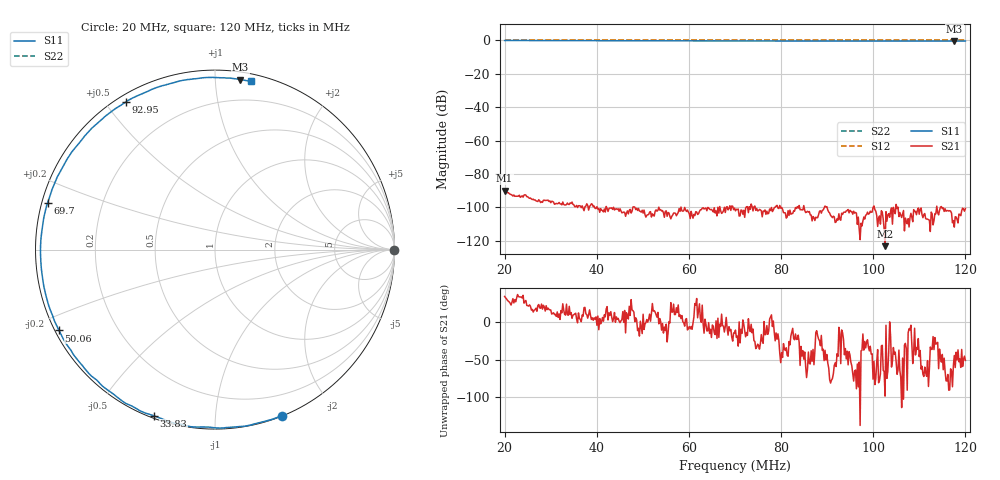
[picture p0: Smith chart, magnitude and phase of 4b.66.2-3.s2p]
! Anritsu VNA Master:  Model: MS2036C/10/77
! SN:  1601066
! /bd0/18may26.balun/4b.66.3.s2p
! Existing Calibration Information:
! TYPE:  Current Settings,  Active Cal Settings
! TIME:  05/26/2018 05:16:19 PM,  05/26/2018 05:08:07 PM
! INTERNAL TEMP:  52.8 C,  52.5 C
! # POINTS:  500,  500
! START FREQ:  20.000 MHz,  20.000 MHz
! STOP FREQ:  120.000 MHz,  120.000 MHz
! SOURCE POWER:  High,  High
! IFBW:  50 Hz,  50 Hz
! AVG FACTOR:  1 ,  1
! REF PLANE 1:  0 mm,  0 mm
! REF PLANE 2:  0 mm,  0 mm
! CAL TYPE:  Full S11,  Full S11
! CAL METHOD:  SOLT,  SOLT
! CAL LINE TYPE:  Coax,  Coax
! DUT PORT 1:  K-Conn(M),  K-Conn(M)
! DUT PORT 2:  K-Conn(M),  K-Conn(M)
! CAL STATUS:  OK: Accuracy High,  --
# GHZ S DB R 50.0
! FREQ.GHZ  S11DB  S11A  S21DB  S21A  S12DB  S12A  S22DB  S22A
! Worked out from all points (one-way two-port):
!   500 points, 20 MHz to 120 MHz, reference 50 ohm
!   highest |S21| = -89.99 dB at 20 MHz (marker M1); lowest = -123.2 dB at 102.6 MHz (marker M2)
!   lowest |S11| = -0.4 dB at 117.6 MHz (marker M3), VSWR 45.85, Z = 2.56 + j57.9 ohm
!   |S11| at or under -10 dB: nowhere
!   |S22| runs from 0.0 to 0.0 dB; largest |S21 - S12| = 1
!   S11 on the Smith chart (normalised r, x): 20 MHz: 0.01, -1.48; 33.83 MHz: 0.01, -0.70; 50.06 MHz: 0.01, -0.24; 69.7 MHz: 0.02, +0.14; 92.95 MHz: 0.03, +0.56; 120 MHz: 0.05, +1.24
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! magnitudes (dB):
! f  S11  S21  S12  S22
! 20 MHz  0.0  -90.0  0.0  0.0
! 23.61 MHz  0.0  -93.5  0.0  0.0
! 27.82 MHz  -0.1  -97.1  0.0  0.0
! 29.62 MHz  0.0  -96.4  0.0  0.0
! 33.83 MHz  -0.1  -98.2  0.0  0.0
! 35.23 MHz  -0.1  -99.6  0.0  0.0
! 36.83 MHz  -0.1  -99.1  0.0  0.0
! 37.64 MHz  -0.1  -99.2  0.0  0.0
! 39.24 MHz  -0.1  -99.6  0.0  0.0
! 40.64 MHz  -0.1  -102.9  0.0  0.0
! 41.84 MHz  -0.2  -102.8  0.0  0.0
! 43.05 MHz  -0.1  -100.4  0.0  0.0
! 50.06 MHz  -0.2  -103.4  0.0  0.0
! 53.47 MHz  -0.2  -99.8  0.0  0.0
! 69.7 MHz  -0.3  -101.3  0.0  0.0
! 70.1 MHz  -0.3  -102.1  0.0  0.0
! 86.73 MHz  -0.3  -108.1  0.0  0.0
! 92.95 MHz  -0.3  -107.7  0.0  0.0
! 102.6 MHz  -0.4  -123.2  0.0  0.0
! 103.4 MHz  -0.4  -103.7  0.0  0.0
! 117.6 MHz  -0.4  -111.8  0.0  0.0
! 120 MHz  -0.4  -100.7  0.0  0.0
